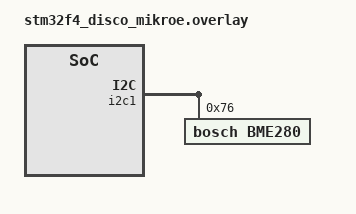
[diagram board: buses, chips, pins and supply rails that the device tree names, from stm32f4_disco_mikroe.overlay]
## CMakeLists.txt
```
cmake_minimum_required(VERSION 3.13.1)

include(../../cmake/boilerplate.cmake)
include($ENV{ZEPHYR_BASE}/cmake/app/boilerplate.cmake NO_POLICY_SCOPE)
project(wheater_station)

FILE(GLOB app_sources src/*.c)
target_sources(app PRIVATE ${app_sources})
```

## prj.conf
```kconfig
CONFIG_I2C=y
CONFIG_I2C_1=y
CONFIG_I2C_3=y
CONFIG_SENSOR=y
CONFIG_BME280=y
CONFIG_UART_INTERRUPT_DRIVEN=y
CONFIG_HEAP_MEM_POOL_SIZE=256
CONFIG_ASSERT=y
CONFIG_PRINTK=y
```

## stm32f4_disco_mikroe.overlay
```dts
&i2c1 {
	bme280@76 {
		compatible = "bosch,bme280";
		reg = <0x76>;
		label = "BME280";
	};
};
```

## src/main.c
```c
#include <zephyr.h>
#include <device.h>
#include <drivers/sensor.h>
#include <uart.h>

#define UART_PORT 	"UART_2"
#define BME280 			"BME280"
#define STACKSIZE 	1024			/* size of stack area used by each thread */
#define PRIORITY 		7					/* scheduling priority used by each thread */
#define TEMPERATURE	0
#define PRESSION		1
#define HUMIDITE 		2

u8_t data[6];
struct sensor_value temp, press, humidity;


void concatene(u8_t *array, struct sensor_value* temp, struct sensor_value* press, struct sensor_value* humidity){
	array[0] = (s8_t)temp->val1;
	array[1] = (s8_t)temp->val2;
	array[2] = (s8_t)press->val1;
	array[3] = (s8_t)press->val2;
	array[4] = (s8_t)humidity->val1;
	array[5] = (s8_t)humidity->val2;
}

void send_data( struct device *uart, s8_t* data, u8_t type){
	/* 	0 --> temp
			1 --> press
			2 --> humidity */
	uart_poll_out(uart, 0x55);
	uart_poll_out(uart, 0x02);
	uart_poll_out(uart, type);
	uart_poll_out(uart, data[(type*2)]);
	uart_poll_out(uart, data[(type*2)+1]);
}

void main(void)
{
	struct device *bme280 = device_get_binding(BME280);
	struct device *uart_handle = device_get_binding(UART_PORT);

	if (uart_handle == NULL) {
		printk("Could not get UART_2 device\n");
		return;
	}

	if (bme280 == NULL) {
		printk("Could not get BME280 device\n");
		return;
	}

	printk("dev %p name %s\n", bme280, bme280->config->name);

	while (1) {
		sensor_sample_fetch(bme280);
		sensor_channel_get(bme280, SENSOR_CHAN_AMBIENT_TEMP, &temp);
		sensor_channel_get(bme280, SENSOR_CHAN_PRESS, &press);
		sensor_channel_get(bme280, SENSOR_CHAN_HUMIDITY, &humidity);

		concatene(data, &temp, &press, &humidity);

		send_data(uart_handle, data, 0);
		k_sleep(333);
		send_data(uart_handle, data, 1);
		k_sleep(333);
		send_data(uart_handle, data, 2);
		k_sleep(333);
	}
}
```
